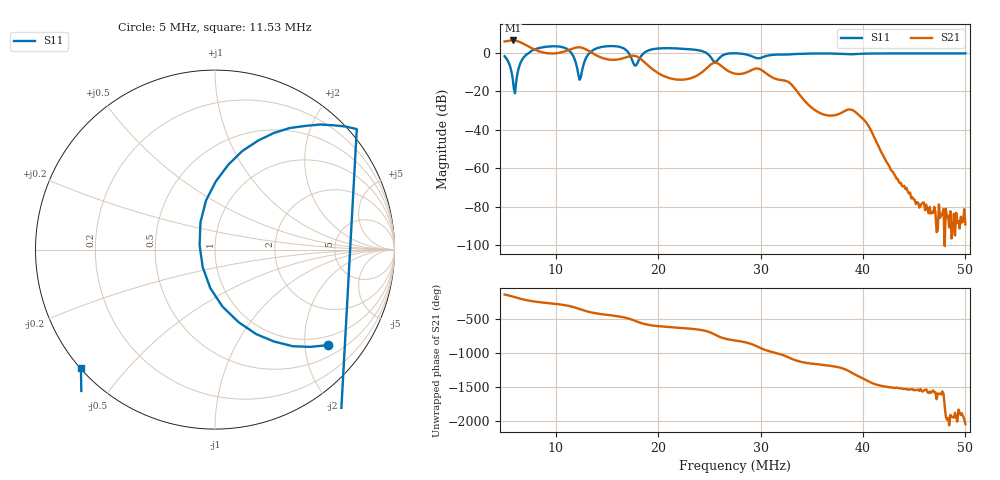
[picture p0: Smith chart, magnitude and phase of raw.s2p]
! S11/S21 only; reverse parameters are placeholders. Device calibration unverified.
! NanoVNA F V2 profile | COM3 | 2026-09-08T12:08:26.7190533-04:00 | device calibration unverified
# HZ S RI R 50
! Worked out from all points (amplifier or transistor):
!   401 points, 5 MHz to 50 MHz, reference 50 ohm
!   highest |S21| = 6.5 dB at 5.787 MHz (marker M1)
!   |S21| within 3 dB of that: start of sweep to 7.281 MHz
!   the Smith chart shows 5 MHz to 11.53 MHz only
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5000000  0.6316 -0.5319  -1.676 -1.071  0 0  0 0
5787500  -0.0255 -0.2164  -2.116 -0.1242  0 0  0 0
7250000  0.6576 0.6929  -0.8962 1.224  0 0  0 0
7812500  0.663 -1.006  -0.4773 1.176  0 0  0 0
9950000  -0.0647 -1.497  0.2471 0.9494  0 0  0 0
1.1525e7  -0.747 -0.6572  1.027 0.7587  0 0  0 0
1.25375e7  0.2369 0.2142  1.35 -0.2706  0 0  0 0
1.3775e7  1.099 -0.5947  0.4627 -0.7983  0 0  0 0
1.59125e7  0.4944 -1.404  -0.1612 -0.6505  0 0  0 0
1.67e7  -0.1666 -1.275  -0.4261 -0.6151  0 0  0 0
1.7375e7  -0.6505 -0.3572  -0.7543 -0.3787  0 0  0 0
1.81625e7  0.3518 0.6044  -0.7042 0.2272  0 0  0 0
1.895e7  1.111 0.244  -0.3136 0.3737  0 0  0 0
2.0075e7  1.292 -0.2408  -0.0839 0.2792  0 0  0 0
2.53625e7  0.4489 -0.4493  0.545 -0.0286  0 0  0 0
2.75e7  0.8718 -0.4602  -0.0708 -0.2815  0 0  0 0
3.0425e7  0.7441 -0.3422  -0.1514 0.2723  0 0  0 0
3.50375e7  0.7032 -0.6669  0.00397 -0.0368  0 0  0 0
3.92e7  0.5484 -0.7572  -0.0142 0.0263  0 0  0 0
4.2575e7  0.4439 -0.87  0.000346 -0.00107  0 0  0 0
4.53875e7  0.3363 -0.9168  -2.9e-05 -0.000125  0 0  0 0
5e7  0.1601 -0.9635  -1.1e-05 3.3e-05  0 0  0 0
